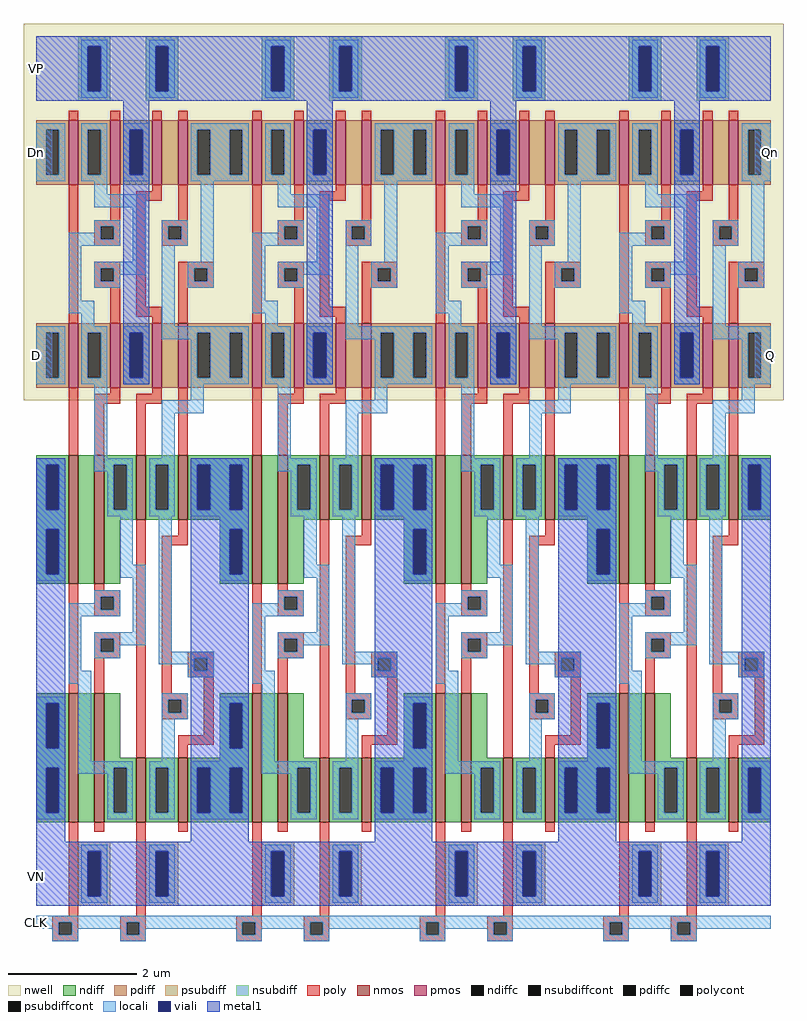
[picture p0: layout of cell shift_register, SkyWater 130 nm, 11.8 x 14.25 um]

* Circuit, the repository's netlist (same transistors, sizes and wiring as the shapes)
* SPICE3 file created from shift_register.ext - technology: sky130A

.subckt CSRL_D_FF Dn D Qn Q CLK VP VN
X0 Qn Q a_290_1950# VP sky130_fd_pr__pfet_01v8 ad=5e+11p pd=3e+06u as=2.5e+11p ps=2.5e+06u w=1e+06u l=150000u
X1 Q CLK a_30_1320# VN sky130_fd_pr__nfet_01v8 ad=5e+11p pd=3e+06u as=7.5e+11p ps=5e+06u w=1e+06u l=150000u
X2 VP a_30_1320# a_30_1950# VP sky130_fd_pr__pfet_01v8 ad=1e+12p pd=6e+06u as=5e+11p ps=3e+06u w=1e+06u l=150000u
X3 a_30_710# CLK VN VN sky130_fd_pr__nfet_01v8 ad=5e+11p pd=4.5e+06u as=3e+12p ps=1.6e+07u w=2e+06u l=150000u
X4 a_290_1320# CLK VP VP sky130_fd_pr__pfet_01v8 ad=2.5e+11p pd=2.5e+06u as=0p ps=0u w=1e+06u l=150000u
X5 a_30_n30# CLK VN VN sky130_fd_pr__nfet_01v8 ad=5e+11p pd=4.5e+06u as=0p ps=0u w=2e+06u l=150000u
X6 VN Qn Q VN sky130_fd_pr__nfet_01v8 ad=0p pd=0u as=0p ps=0u w=1e+06u l=150000u
X7 a_30_1320# CLK D VP sky130_fd_pr__pfet_01v8 ad=5e+11p pd=3e+06u as=5e+11p ps=3e+06u w=1e+06u l=150000u
X8 a_290_1950# CLK VP VP sky130_fd_pr__pfet_01v8 ad=0p pd=0u as=0p ps=0u w=1e+06u l=150000u
X9 Q Qn a_290_1320# VP sky130_fd_pr__pfet_01v8 ad=5e+11p pd=3e+06u as=0p ps=0u w=1e+06u l=150000u
X10 VP a_30_1950# a_30_1320# VP sky130_fd_pr__pfet_01v8 ad=0p pd=0u as=0p ps=0u w=1e+06u l=150000u
X11 Qn CLK a_30_1950# VN sky130_fd_pr__nfet_01v8 ad=5e+11p pd=3e+06u as=7.5e+11p ps=5e+06u w=1e+06u l=150000u
X12 a_30_1950# CLK Dn VP sky130_fd_pr__pfet_01v8 ad=0p pd=0u as=5e+11p ps=3e+06u w=1e+06u l=150000u
X13 a_30_1320# a_30_1950# a_30_710# VN sky130_fd_pr__nfet_01v8 ad=0p pd=0u as=0p ps=0u w=2e+06u l=150000u
X14 a_30_1950# a_30_1320# a_30_n30# VN sky130_fd_pr__nfet_01v8 ad=0p pd=0u as=0p ps=0u w=2e+06u l=150000u
X15 VN Q Qn VN sky130_fd_pr__nfet_01v8 ad=0p pd=0u as=0p ps=0u w=1e+06u l=150000u
.ends


* Top level circuit shift_register

XCSRL_D_FF_0 Dn D CSRL_D_FF_1/Dn CSRL_D_FF_1/D CLK VP VN CSRL_D_FF
XCSRL_D_FF_1 CSRL_D_FF_1/Dn CSRL_D_FF_1/D CSRL_D_FF_2/Dn CSRL_D_FF_2/D CLK VP VN CSRL_D_FF
XCSRL_D_FF_2 CSRL_D_FF_2/Dn CSRL_D_FF_2/D CSRL_D_FF_3/Dn CSRL_D_FF_3/D CLK VP VN CSRL_D_FF
XCSRL_D_FF_3 CSRL_D_FF_3/Dn CSRL_D_FF_3/D Qn Q CLK VP VN CSRL_D_FF
.end

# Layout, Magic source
magic
tech sky130A
<< locali >>
rect 20 1180 45 1270
rect 1135 1180 1160 1270
rect 20 865 45 955
rect 1135 865 1160 955
rect 20 20 35 40
<< metal1 >>
rect 20 1305 40 1405
rect 20 55 50 155
use CSRL_D_FF  CSRL_D_FF_3 ~/Documents/MADVLSI-MP2/layout
transform 1 0 925 0 1 200
box -70 -200 255 1230
use CSRL_D_FF  CSRL_D_FF_2
transform 1 0 640 0 1 200
box -70 -200 255 1230
use CSRL_D_FF  CSRL_D_FF_1
transform 1 0 355 0 1 200
box -70 -200 255 1230
use CSRL_D_FF  CSRL_D_FF_0
transform 1 0 70 0 1 200
box -70 -200 255 1230
<< labels >>
rlabel metal1 20 1355 20 1355 7 VP
rlabel locali 20 1225 20 1225 7 Dn
rlabel locali 20 910 20 910 7 D
rlabel locali 1160 1225 1160 1225 3 Qn
rlabel locali 1160 910 1160 910 3 Q
rlabel locali 20 30 20 30 7 CLK
rlabel metal1 20 100 20 100 7 VN
<< end >>

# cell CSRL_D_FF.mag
magic
tech sky130A
<< nwell >>
rect -70 640 255 1225
<< nmos >>
rect 0 355 15 555
rect 40 355 55 555
rect 105 455 120 555
rect 170 455 185 555
rect 0 -15 15 185
rect 40 -15 55 185
rect 105 -15 120 85
rect 170 -15 185 85
<< pmos >>
rect 0 975 15 1075
rect 65 975 80 1075
rect 130 975 145 1075
rect 170 975 185 1075
rect 0 660 15 760
rect 65 660 80 760
rect 130 660 145 760
rect 170 660 185 760
<< ndiff >>
rect -50 540 0 555
rect -50 470 -35 540
rect -15 470 0 540
rect -50 440 0 470
rect -50 370 -35 440
rect -15 370 0 440
rect -50 355 0 370
rect 15 355 40 555
rect 55 540 105 555
rect 55 470 70 540
rect 90 470 105 540
rect 55 455 105 470
rect 120 540 170 555
rect 120 470 135 540
rect 155 470 170 540
rect 120 455 170 470
rect 185 540 235 555
rect 185 470 200 540
rect 220 470 235 540
rect 185 455 235 470
rect 55 355 80 455
rect -50 170 0 185
rect -50 100 -35 170
rect -15 100 0 170
rect -50 70 0 100
rect -50 0 -35 70
rect -15 0 0 70
rect -50 -15 0 0
rect 15 -15 40 185
rect 55 85 80 185
rect 55 70 105 85
rect 55 0 70 70
rect 90 0 105 70
rect 55 -15 105 0
rect 120 70 170 85
rect 120 0 135 70
rect 155 0 170 70
rect 120 -15 170 0
rect 185 70 235 85
rect 185 0 200 70
rect 220 0 235 70
rect 185 -15 235 0
<< pdiff >>
rect -50 1060 0 1075
rect -50 990 -35 1060
rect -15 990 0 1060
rect -50 975 0 990
rect 15 1060 65 1075
rect 15 990 30 1060
rect 50 990 65 1060
rect 15 975 65 990
rect 80 1060 130 1075
rect 80 990 95 1060
rect 115 990 130 1060
rect 80 975 130 990
rect 145 975 170 1075
rect 185 1060 235 1075
rect 185 990 200 1060
rect 220 990 235 1060
rect 185 975 235 990
rect -50 745 0 760
rect -50 675 -35 745
rect -15 675 0 745
rect -50 660 0 675
rect 15 745 65 760
rect 15 675 30 745
rect 50 675 65 745
rect 15 660 65 675
rect 80 745 130 760
rect 80 675 95 745
rect 115 675 130 745
rect 80 660 130 675
rect 145 660 170 760
rect 185 745 235 760
rect 185 675 200 745
rect 220 675 235 745
rect 185 660 235 675
<< ndiffc >>
rect -35 470 -15 540
rect -35 370 -15 440
rect 70 470 90 540
rect 135 470 155 540
rect 200 470 220 540
rect -35 100 -15 170
rect -35 0 -15 70
rect 70 0 90 70
rect 135 0 155 70
rect 200 0 220 70
<< pdiffc >>
rect -35 990 -15 1060
rect 30 990 50 1060
rect 95 990 115 1060
rect 200 990 220 1060
rect -35 675 -15 745
rect 30 675 50 745
rect 95 675 115 745
rect 200 675 220 745
<< psubdiff >>
rect 15 -60 65 -45
rect 15 -130 30 -60
rect 50 -130 65 -60
rect 15 -145 65 -130
rect 120 -60 170 -45
rect 120 -130 135 -60
rect 155 -130 170 -60
rect 120 -145 170 -130
<< nsubdiff >>
rect 15 1190 65 1205
rect 15 1120 30 1190
rect 50 1120 65 1190
rect 15 1105 65 1120
rect 120 1190 170 1205
rect 120 1120 135 1190
rect 155 1120 170 1190
rect 120 1105 170 1120
<< psubdiffcont >>
rect 30 -130 50 -60
rect 135 -130 155 -60
<< nsubdiffcont >>
rect 30 1120 50 1190
rect 135 1120 155 1190
<< poly >>
rect 0 1075 15 1090
rect 65 1075 80 1090
rect 130 1075 145 1090
rect 170 1075 185 1090
rect 0 760 15 975
rect 65 920 80 975
rect 130 965 145 975
rect 40 910 80 920
rect 40 890 50 910
rect 70 890 80 910
rect 40 880 80 890
rect 105 950 145 965
rect 40 845 80 855
rect 40 825 50 845
rect 70 825 80 845
rect 40 815 80 825
rect 65 760 80 815
rect 105 785 120 950
rect 170 920 185 975
rect 145 910 185 920
rect 145 890 155 910
rect 175 890 185 910
rect 145 880 185 890
rect 170 845 225 855
rect 170 825 195 845
rect 215 825 225 845
rect 170 815 225 825
rect 105 770 145 785
rect 130 760 145 770
rect 170 760 185 815
rect 0 555 15 660
rect 65 650 80 660
rect 130 650 145 660
rect 40 635 80 650
rect 105 635 145 650
rect 40 555 55 635
rect 105 555 120 635
rect 170 555 185 660
rect 0 185 15 355
rect 40 345 55 355
rect 40 335 80 345
rect 40 315 50 335
rect 70 315 80 335
rect 40 305 80 315
rect 40 270 80 280
rect 40 250 50 270
rect 70 250 80 270
rect 40 240 80 250
rect 40 185 55 240
rect 105 85 120 455
rect 170 430 185 455
rect 145 415 185 430
rect 145 185 160 415
rect 185 240 225 250
rect 185 220 195 240
rect 215 220 225 240
rect 185 210 225 220
rect 145 175 185 185
rect 145 155 155 175
rect 175 155 185 175
rect 145 145 185 155
rect 210 120 225 210
rect 170 105 225 120
rect 170 85 185 105
rect 0 -160 15 -15
rect 40 -30 55 -15
rect 105 -160 120 -15
rect 170 -30 185 -15
rect -25 -170 15 -160
rect -25 -190 -15 -170
rect 5 -190 15 -170
rect -25 -200 15 -190
rect 80 -170 120 -160
rect 80 -190 90 -170
rect 110 -190 120 -170
rect 80 -200 120 -190
<< polycont >>
rect 50 890 70 910
rect 50 825 70 845
rect 155 890 175 910
rect 195 825 215 845
rect 50 315 70 335
rect 50 250 70 270
rect 195 220 215 240
rect 155 155 175 175
rect -15 -190 5 -170
rect 90 -190 110 -170
<< locali >>
rect 20 1190 60 1200
rect 20 1120 30 1190
rect 50 1120 60 1190
rect 20 1110 60 1120
rect 125 1190 165 1200
rect 125 1120 135 1190
rect 155 1120 165 1190
rect 125 1110 165 1120
rect -50 1060 -5 1070
rect -50 990 -35 1060
rect -15 990 -5 1060
rect -50 980 -5 990
rect 20 1060 60 1070
rect 20 990 30 1060
rect 50 990 60 1060
rect 20 980 60 990
rect 85 1060 125 1070
rect 85 990 95 1060
rect 115 990 125 1060
rect 85 980 125 990
rect 190 1060 235 1070
rect 190 990 200 1060
rect 220 990 235 1060
rect 190 980 235 990
rect 40 960 60 980
rect 40 940 120 960
rect 40 910 80 920
rect 40 900 50 910
rect 0 890 50 900
rect 70 890 80 910
rect 0 880 80 890
rect 0 795 20 880
rect 100 855 120 940
rect 40 845 120 855
rect 40 825 50 845
rect 70 835 120 845
rect 145 910 185 920
rect 145 890 155 910
rect 175 890 185 910
rect 145 880 185 890
rect 70 825 80 835
rect 40 815 80 825
rect 0 775 40 795
rect 20 755 40 775
rect 145 755 165 880
rect 205 855 225 980
rect 185 845 225 855
rect 185 825 195 845
rect 215 825 225 845
rect 185 815 225 825
rect -50 745 -5 755
rect -50 675 -35 745
rect -15 675 -5 745
rect -50 665 -5 675
rect 20 745 60 755
rect 20 675 30 745
rect 50 675 60 745
rect 20 665 60 675
rect 85 745 125 755
rect 85 675 95 745
rect 115 675 125 745
rect 145 745 235 755
rect 145 735 200 745
rect 85 665 125 675
rect 190 675 200 735
rect 220 675 235 745
rect 190 665 235 675
rect 40 550 60 665
rect 190 640 210 665
rect 145 620 210 640
rect 145 550 165 620
rect -50 540 -5 550
rect -50 470 -35 540
rect -15 470 -5 540
rect 40 540 100 550
rect 40 530 70 540
rect -50 440 -5 470
rect 60 470 70 530
rect 90 470 100 540
rect 60 460 100 470
rect 125 540 165 550
rect 125 470 135 540
rect 155 470 165 540
rect 125 460 165 470
rect 190 540 235 550
rect 190 470 200 540
rect 220 470 235 540
rect 190 460 235 470
rect -50 370 -35 440
rect -15 370 -5 440
rect -50 360 -5 370
rect 80 385 100 460
rect 80 365 120 385
rect 40 335 80 345
rect 40 325 50 335
rect 0 315 50 325
rect 70 315 80 335
rect 0 305 80 315
rect 0 220 20 305
rect 100 280 120 365
rect 40 270 120 280
rect 40 250 50 270
rect 70 260 120 270
rect 70 250 80 260
rect 40 240 80 250
rect 140 250 160 460
rect 140 240 225 250
rect 140 230 195 240
rect 185 220 195 230
rect 215 220 225 240
rect 0 200 35 220
rect 185 210 225 220
rect -50 170 -5 180
rect -50 100 -35 170
rect -15 100 -5 170
rect -50 70 -5 100
rect -50 0 -35 70
rect -15 0 -5 70
rect 15 80 35 200
rect 145 175 185 185
rect 145 155 155 175
rect 175 155 185 175
rect 145 145 185 155
rect 145 80 165 145
rect 15 70 100 80
rect 15 60 70 70
rect -50 -10 -5 0
rect 60 0 70 60
rect 90 0 100 70
rect 60 -10 100 0
rect 125 70 165 80
rect 125 0 135 70
rect 155 0 165 70
rect 125 -10 165 0
rect 190 70 235 80
rect 190 0 200 70
rect 220 0 235 70
rect 190 -10 235 0
rect 20 -60 60 -50
rect 20 -130 30 -60
rect 50 -130 60 -60
rect 20 -140 60 -130
rect 125 -60 165 -50
rect 125 -130 135 -60
rect 155 -130 165 -60
rect 125 -140 165 -130
rect -50 -170 235 -160
rect -50 -180 -15 -170
rect -25 -190 -15 -180
rect 5 -180 90 -170
rect 5 -190 15 -180
rect -25 -200 15 -190
rect 80 -190 90 -180
rect 110 -180 235 -170
rect 110 -190 120 -180
rect 80 -200 120 -190
<< viali >>
rect 30 1120 50 1190
rect 135 1120 155 1190
rect 95 990 115 1060
rect 95 675 115 745
rect -35 470 -15 540
rect 200 470 220 540
rect -35 370 -15 440
rect -35 100 -15 170
rect -35 0 -15 70
rect 200 0 220 70
rect 30 -130 50 -60
rect 135 -130 155 -60
<< metal1 >>
rect -50 1190 235 1205
rect -50 1120 30 1190
rect 50 1120 135 1190
rect 155 1120 235 1190
rect -50 1105 235 1120
rect 85 1060 125 1105
rect 85 990 95 1060
rect 115 990 125 1060
rect 85 745 125 990
rect 85 675 95 745
rect 115 675 125 745
rect 85 665 125 675
rect -50 540 -5 550
rect -50 470 -35 540
rect -15 470 -5 540
rect -50 440 -5 470
rect -50 370 -35 440
rect -15 370 -5 440
rect -50 170 -5 370
rect -50 100 -35 170
rect -15 100 -5 170
rect -50 70 -5 100
rect -50 0 -35 70
rect -15 0 -5 70
rect -50 -45 -5 0
rect 190 540 235 550
rect 190 470 200 540
rect 220 470 235 540
rect 190 70 235 470
rect 190 0 200 70
rect 220 0 235 70
rect 190 -45 235 0
rect -50 -60 235 -45
rect -50 -130 30 -60
rect 50 -130 135 -60
rect 155 -130 235 -60
rect -50 -145 235 -130
<< labels >>
rlabel locali 235 1025 235 1025 3 Qn
port 3 e
rlabel locali 235 710 235 710 3 Q
port 4 e
rlabel locali -50 710 -50 710 7 D
port 2 w
rlabel locali -50 1025 -50 1025 7 Dn
port 1 w
rlabel metal1 -50 1160 -50 1160 7 VP
port 6 w
rlabel locali -50 -170 -50 -170 7 CLK
port 5 w
rlabel metal1 -50 -100 -50 -100 7 VN
port 7 w
<< end >>
